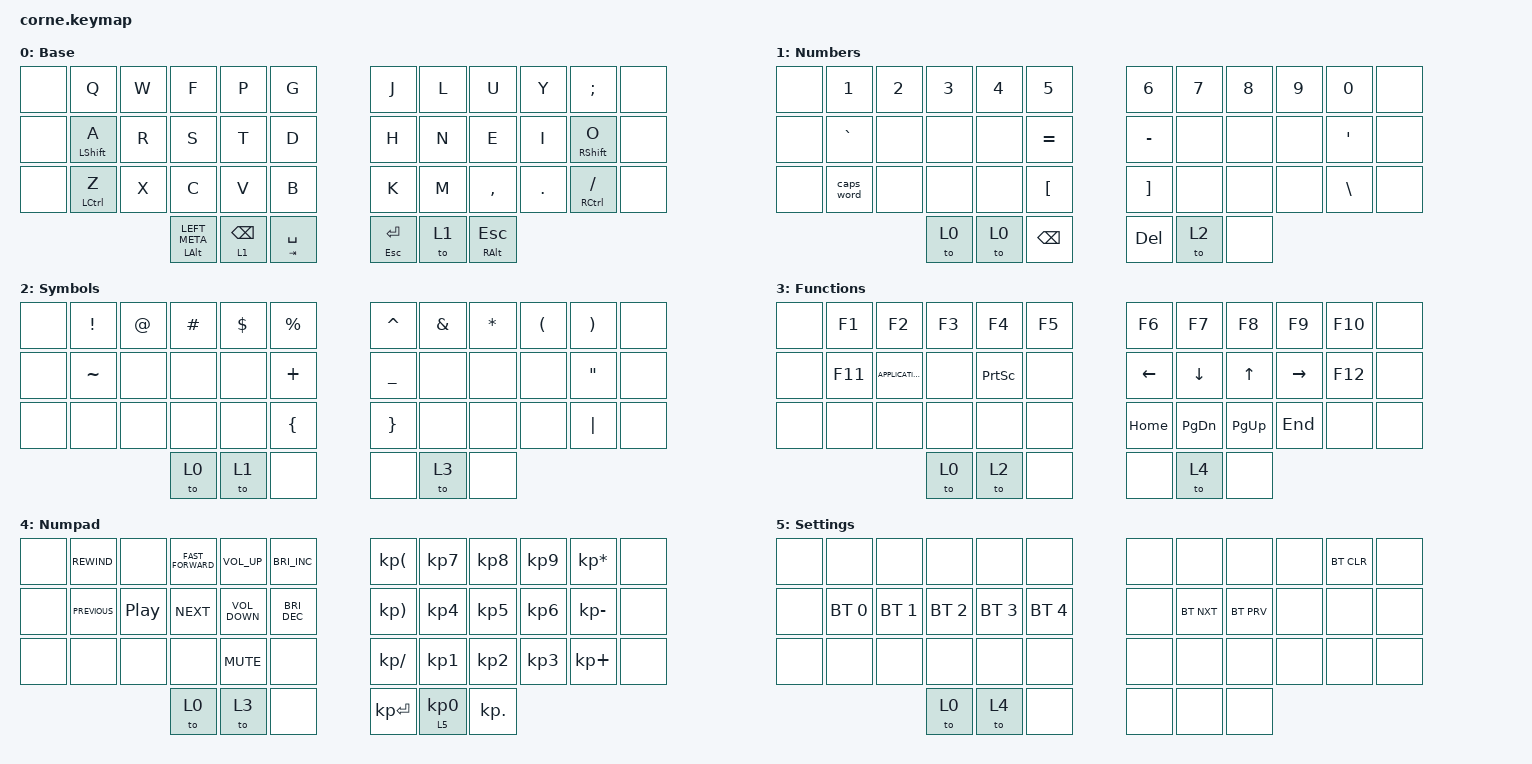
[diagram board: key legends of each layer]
/*
 * Copyright (c) 2020 The ZMK Contributors
 *
 * SPDX-License-Identifier: MIT
 */

#include <behaviors.dtsi>
#include <dt-bindings/zmk/bt.h>
#include <dt-bindings/zmk/keys.h>

/ {
    keymap {
        compatible = "zmk,keymap";

        Colemak {
            // -----------------------------------------------------------------------------------------
            // |  TAB |  Q  |  W  |  E  |  R  |  T  |   |  Y  |  U   |  I  |  O  |  P  | BKSP |
            // | CTRL |  A  |  S  |  D  |  F  |  G  |   |  H  |  J   |  K  |  L  |  ;  |  '   |
            // | SHFT |  Z  |  X  |  C  |  V  |  B  |   |  N  |  M   |  ,  |  .  |  /  | ESC  |
            //                    | GUI | LWR | SPC |   | ENT | RSE  | ALT |

            label = "Base";
            bindings = <
&none  &kp Q             &kp W  &kp F                   &kp P            &kp G            &kp J              &kp L  &kp U                 &kp Y    &kp SEMI           &none
&none  &mt LEFT_SHIFT A  &kp R  &kp S                   &kp T            &kp D            &kp H              &kp N  &kp E                 &kp I    &mt RIGHT_SHIFT O  &none
&none  &mt LCTRL Z       &kp X  &kp C                   &kp V            &kp B            &kp K              &kp M  &kp COMMA             &kp DOT  &mt RCTRL SLASH    &none
                                &mt LEFT_ALT LEFT_META  &lt 1 BACKSPACE  &mt TAB SPACE    &mt ESCAPE RETURN  &to 1  &mt RIGHT_ALT ESCAPE
            >;
        };

        Numbers {
            bindings = <
&none  &kp NUMBER_1  &kp NUMBER_2  &kp NUMBER_3  &kp NUMBER_4  &kp NUMBER_5        &kp NUMBER_6       &kp NUMBER_7  &kp NUMBER_8  &kp NUMBER_9  &kp NUMBER_0      &none
&none  &kp GRAVE     &none         &none         &none         &kp EQUAL           &kp MINUS          &none         &none         &none         &kp SINGLE_QUOTE  &none
&none  &caps_word    &none         &none         &none         &kp LEFT_BRACKET    &kp RIGHT_BRACKET  &none         &none         &none         &kp BACKSLASH     &none
                                   &to 0         &to 0         &kp BACKSPACE       &kp DELETE         &to 2         &none
            >;

            label = "Numbers";
        };

        Symbols {
            bindings = <
&none  &kp EXCLAMATION  &kp AT_SIGN  &kp HASH  &kp DOLLAR  &kp PERCENT       &kp CARET        &kp AMPERSAND  &kp ASTERISK  &kp LEFT_PARENTHESIS  &kp RIGHT_PARENTHESIS  &none
&none  &kp TILDE        &none        &none     &none       &kp PLUS          &kp UNDERSCORE   &none          &none         &none                 &kp DOUBLE_QUOTES      &none
&none  &none            &none        &none     &none       &kp LEFT_BRACE    &kp RIGHT_BRACE  &none          &none         &none                 &kp PIPE               &none
                                     &to 0     &to 1       &none             &none            &to 3          &none
            >;

            label = "Symbols";
        };

        Functions {
            bindings = <
&none  &kp F1   &kp F2             &kp F3  &kp F4           &kp F5    &kp F6          &kp F7          &kp F8        &kp F9           &kp F10  &none
&none  &kp F11  &kp K_APPLICATION  &none   &kp PRINTSCREEN  &none     &kp LEFT_ARROW  &kp DOWN_ARROW  &kp UP_ARROW  &kp RIGHT_ARROW  &kp F12  &none
&none  &none    &none              &none   &none            &none     &kp HOME        &kp PAGE_DOWN   &kp PAGE_UP   &kp END          &none    &none
                                   &to 0   &to 2            &none     &none           &to 4           &none
            >;

            label = "Functions";
        };

        Numpad {
            bindings = <
&none  &kp C_REWIND    &none             &kp C_FAST_FORWARD  &kp C_VOLUME_UP    &kp C_BRIGHTNESS_INC    &kp KP_LEFT_PARENTHESIS   &kp KP_NUMBER_7    &kp KP_NUMBER_8  &kp KP_NUMBER_9  &kp KP_MULTIPLY  &none
&none  &kp C_PREVIOUS  &kp C_PLAY_PAUSE  &kp C_NEXT          &kp C_VOLUME_DOWN  &kp C_BRIGHTNESS_DEC    &kp KP_RIGHT_PARENTHESIS  &kp KP_NUMBER_4    &kp KP_NUMBER_5  &kp KP_NUMBER_6  &kp KP_MINUS     &none
&none  &none           &none             &none               &kp C_MUTE         &none                   &kp KP_DIVIDE             &kp KP_NUMBER_1    &kp KP_NUMBER_2  &kp KP_NUMBER_3  &kp KP_PLUS      &none
                                         &to 0               &to 3              &none                   &kp KP_ENTER              &lt 5 KP_NUMBER_0  &kp KP_DOT
            >;

            label = "Numpad";
        };

        Settings {
            bindings = <
&none  &none         &none         &none         &none         &none           &none  &none       &none       &none  &bt BT_CLR  &none
&none  &bt BT_SEL 0  &bt BT_SEL 1  &bt BT_SEL 2  &bt BT_SEL 3  &bt BT_SEL 4    &none  &bt BT_NXT  &bt BT_PRV  &none  &none       &none
&none  &none         &none         &none         &none         &none           &none  &none       &none       &none  &none       &none
                                   &to 0         &to 4         &none           &none  &none       &none
            >;

            label = "Settings";
        };
    };
};
